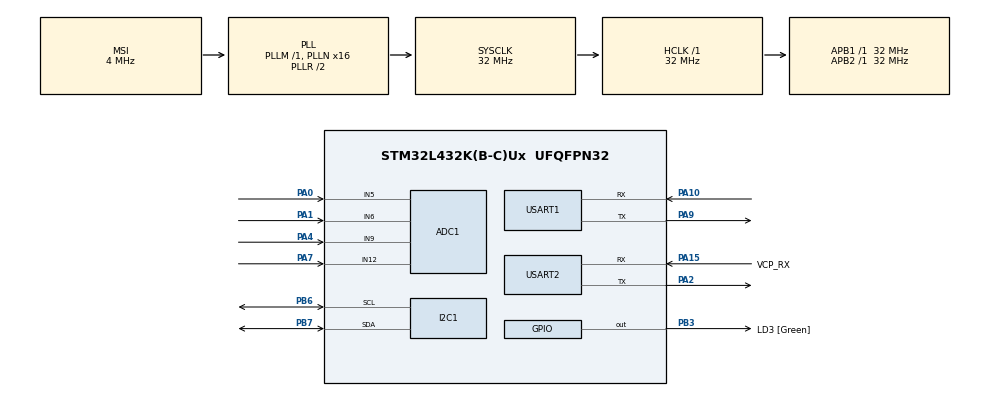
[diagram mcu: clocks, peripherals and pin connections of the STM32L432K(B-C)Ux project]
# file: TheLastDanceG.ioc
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ADC1.Channel-0\#ChannelRegularConversion=ADC_CHANNEL_5
ADC1.Channel-1\#ChannelRegularConversion=ADC_CHANNEL_6
ADC1.Channel-2\#ChannelRegularConversion=ADC_CHANNEL_9
ADC1.Channel-3\#ChannelRegularConversion=ADC_CHANNEL_12
ADC1.ClockPrescaler=ADC_CLOCK_ASYNC_DIV2
ADC1.ContinuousConvMode=ENABLE
ADC1.DMAContinuousRequests=ENABLE
ADC1.NbrOfConversion=4
ADC1.NbrOfConversionFlag=1
ADC1.OffsetNumber-0\#ChannelRegularConversion=ADC_OFFSET_NONE
ADC1.OffsetNumber-1\#ChannelRegularConversion=ADC_OFFSET_NONE
ADC1.OffsetNumber-2\#ChannelRegularConversion=ADC_OFFSET_NONE
ADC1.OffsetNumber-3\#ChannelRegularConversion=ADC_OFFSET_NONE
ADC1.Rank-0\#ChannelRegularConversion=1
ADC1.Rank-1\#ChannelRegularConversion=2
ADC1.Rank-2\#ChannelRegularConversion=3
ADC1.Rank-3\#ChannelRegularConversion=4
ADC1.SamplingTime-0\#ChannelRegularConversion=ADC_SAMPLETIME_247CYCLES_5
ADC1.SamplingTime-1\#ChannelRegularConversion=ADC_SAMPLETIME_247CYCLES_5
ADC1.SamplingTime-2\#ChannelRegularConversion=ADC_SAMPLETIME_247CYCLES_5
ADC1.SamplingTime-3\#ChannelRegularConversion=ADC_SAMPLETIME_247CYCLES_5
ADC1.master=1
Dma.ADC1.0.Direction=DMA_PERIPH_TO_MEMORY
Dma.ADC1.0.Instance=DMA1_Channel1
Dma.ADC1.0.MemDataAlignment=DMA_MDATAALIGN_HALFWORD
Dma.ADC1.0.MemInc=DMA_MINC_ENABLE
Dma.ADC1.0.Mode=DMA_CIRCULAR
Dma.ADC1.0.PeriphDataAlignment=DMA_PDATAALIGN_HALFWORD
Dma.ADC1.0.PeriphInc=DMA_PINC_DISABLE
Dma.ADC1.0.Priority=DMA_PRIORITY_LOW
Dma.Request0=ADC1
Dma.Request1=USART1_TX
Dma.USART1_TX.1.Direction=DMA_MEMORY_TO_PERIPH
Dma.USART1_TX.1.Instance=DMA1_Channel4
Dma.USART1_TX.1.MemDataAlignment=DMA_MDATAALIGN_BYTE
Dma.USART1_TX.1.MemInc=DMA_MINC_ENABLE
Dma.USART1_TX.1.Mode=DMA_NORMAL
Dma.USART1_TX.1.PeriphDataAlignment=DMA_PDATAALIGN_BYTE
Dma.USART1_TX.1.PeriphInc=DMA_PINC_DISABLE
Dma.USART1_TX.1.Priority=DMA_PRIORITY_LOW
I2C1.Timing=0x00B07CB4
Mcu.Family=STM32L4
Mcu.Name=STM32L432K(B-C)Ux
Mcu.Package=UFQFPN32
NVIC.DMA1_Channel1_IRQn=true\:0\:0\:false\:false\:true\:false\:true\:true
NVIC.DMA1_Channel4_IRQn=true\:0\:0\:false\:false\:true\:false\:true\:true
NVIC.PriorityGroup=NVIC_PRIORITYGROUP_4
NVIC.USART1_IRQn=true\:0\:0\:false\:false\:true\:true\:true\:true
PA0.Signal=ADCx_IN5
PA1.Signal=ADCx_IN6
PA10.Mode=Asynchronous
PA10.Signal=USART1_RX
PA13\ (JTMS-SWDIO).GPIO_Label=SWDIO
PA13\ (JTMS-SWDIO).Signal=SYS_JTMS-SWDIO
PA14\ (JTCK-SWCLK).GPIO_Label=SWCLK
PA14\ (JTCK-SWCLK).Signal=SYS_JTCK-SWCLK
PA15\ (JTDI).GPIO_Label=VCP_RX
PA15\ (JTDI).Mode=Asynchronous
PA15\ (JTDI).Signal=USART2_RX
PA2.Mode=Asynchronous
PA2.Signal=USART2_TX
PA4.Signal=ADCx_IN9
PA7.Signal=ADCx_IN12
PA9.Mode=Asynchronous
PA9.Signal=USART1_TX
PB3\ (JTDO-TRACESWO).GPIO_Label=LD3 [Green]
PB3\ (JTDO-TRACESWO).Signal=GPIO_Output
PB6.Mode=I2C
PB6.Signal=I2C1_SCL
PB7.Mode=I2C
PB7.Signal=I2C1_SDA
PC14-OSC32_IN\ (PC14).Signal=RCC_OSC32_IN
PC15-OSC32_OUT\ (PC15).Signal=RCC_OSC32_OUT
ProjectManager.HeapSize=0x200
ProjectManager.StackSize=0x400
ProjectManager.TargetToolchain=STM32CubeIDE
RCC.ADCFreq_Value=32000000
RCC.AHBFreq_Value=32000000
RCC.APB1Freq_Value=32000000
RCC.APB1TimFreq_Value=32000000
RCC.APB2Freq_Value=32000000
RCC.APB2TimFreq_Value=32000000
RCC.CortexFreq_Value=32000000
RCC.HCLKFreq_Value=32000000
RCC.HSE_VALUE=8000000
RCC.HSI16_VALUE=16000000
RCC.HSI48_VALUE=48000000
RCC.HSI_VALUE=16000000
RCC.LSE_VALUE=32768
RCC.MSI_VALUE=4000000
RCC.PLLMUL=RCC_PLLMUL_4
RCC.PLLN=16
RCC.PLLSAI1N=16
RCC.SYSCLKFreq_VALUE=32000000
RCC.SYSCLKSource=RCC_SYSCLKSOURCE_PLLCLK
RCC.USBFreq_Value=32000000
RCC.VCOOutputFreq_Value=64000000
SH.ADCx_IN12.0=ADC1_IN12,IN12-Single-Ended
SH.ADCx_IN5.0=ADC1_IN5,IN5-Single-Ended
SH.ADCx_IN6.0=ADC1_IN6,IN6-Single-Ended
SH.ADCx_IN9.0=ADC1_IN9,IN9-Single-Ended
USART1.VirtualMode-Asynchronous=VM_ASYNC
USART2.VirtualMode-Asynchronous=VM_ASYNC
board=NUCLEO-L432KC

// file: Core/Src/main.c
/* USER CODE BEGIN Header */
/**
  ******************************************************************************
  * @file           : main.c
  * @brief          : Main program body
  ******************************************************************************
  * @attention
  *
  * Copyright (c) 2026 STMicroelectronics.
  * All rights reserved.
  *
  * This software is licensed under terms that can be found in the LICENSE file
  * in the root directory of this software component.
  * If no LICENSE file comes with this software, it is provided AS-IS.
  *
  ******************************************************************************
  */
/* USER CODE END Header */
#include "main.h"

/* USER CODE BEGIN Includes */
#include <stdio.h>
#include <string.h>
#include <stdarg.h>
#include <math.h>
/* USER CODE END Includes */

ADC_HandleTypeDef hadc1;
DMA_HandleTypeDef hdma_adc1;

I2C_HandleTypeDef hi2c1;

UART_HandleTypeDef huart1;
UART_HandleTypeDef huart2;
DMA_HandleTypeDef hdma_usart1_tx;

/* USER CODE BEGIN PV */
typedef enum
{
  FINGERS_UP = 0,
  FINGERS_DOWN,
  FINGERS_HORIZONTAL,
  FINGERS_UNKNOWN
} FingerDirection_t;

typedef enum
{
  HAND_BACK_UP = 0,   /* +Z points up (out of back of hand is up) */
  HAND_PALM_UP,       /* -Z points up */
  HAND_EDGE_UP,       /* neither back nor palm mostly up */
  HAND_FACE_UNKNOWN
} HandFace_t;

typedef struct
{
  FingerDirection_t fingers;
  HandFace_t face;
} HandPose_t;

static HandPose_t s_hand_pose;
#define SAD_W_A 0x32
#define SAD_R_A 0x33

void myprintf(const char *fmt, ...);

#define ADC_MODE_THRESH 100
#define ADC_FLEX_THRESH 200
static uint16_t adc1_dma_initial_buf_average[4];
static uint16_t adc1_dma_buf[16];
static uint16_t adc1_dma_buf_average[4];
static uint8_t  glove_commands[7];
static uint8_t  sensor = 0;
static uint8_t  s_mode = 0;

/* 1..10 value representing left/right roll around X axis (X along fingers). */
static volatile uint8_t s_roll_x_1to10 = 5u;

/* Accelerometer register map (matches your reference code) */
#define ACCEL_REG_CTRL1    0x20
#define ACCEL_REG_OUT_X_L  0x28
/* USER CODE END PV */

void SystemClock_Config(void);
static void MX_GPIO_Init(void);
static void MX_DMA_Init(void);
static void MX_USART1_UART_Init(void);
static void MX_USART2_UART_Init(void);
static void MX_ADC1_Init(void);
static void MX_I2C1_Init(void);

/* USER CODE BEGIN 0 */

void mode_switch(void)
{

	if((adc1_dma_buf_average[0] - adc1_dma_initial_buf_average[0] > ADC_MODE_THRESH) & (!sensor))
	{
		sensor = 1;//doesn't allow one tap to go trhough multiple with the debounce as well
		s_mode = (s_mode + 1) % 4; //next mode
		HAL_Delay(100);//debounce
	}
	else
	{
		sensor = 0;
	}
}

void myprintf(const char *fmt, ...)
{
  char buffer[128];
  va_list args;
  va_start(args, fmt);
  vsnprintf(buffer, sizeof(buffer), fmt, args);
  va_end(args);
  HAL_UART_Transmit(&huart2, (uint8_t *)buffer, strlen(buffer), 0xFFFF);
}

void update_glove_commands(void)
{

  glove_commands[0] = s_mode;
  glove_commands[1] = adc1_dma_buf_average[1] - adc1_dma_initial_buf_average[1] > ADC_FLEX_THRESH ? 1 : 0;
  glove_commands[2] = adc1_dma_buf_average[2] - adc1_dma_initial_buf_average[2] > ADC_FLEX_THRESH ? 1 : 0;
  glove_commands[3] = adc1_dma_buf_average[3] - adc1_dma_initial_buf_average[3] > ADC_FLEX_THRESH ? 1 : 0;
  glove_commands[4] = s_hand_pose.fingers == FINGERS_UP ? 1 : 0;
  glove_commands[5] = s_hand_pose.face == HAND_PALM_UP ? 1 : 0;
  glove_commands[6] = s_roll_x_1to10; /* 1..10 */
}

void average_adc_values(void)
{
  adc1_dma_buf_average[0] = (adc1_dma_buf[0] + adc1_dma_buf[4] + adc1_dma_buf[8] + adc1_dma_buf[12]) / 4;
  adc1_dma_buf_average[1] = (adc1_dma_buf[1] + adc1_dma_buf[5] + adc1_dma_buf[9] + adc1_dma_buf[13]) / 4;
  adc1_dma_buf_average[2] = (adc1_dma_buf[2] + adc1_dma_buf[6] + adc1_dma_buf[10] + adc1_dma_buf[14]) / 4;
  adc1_dma_buf_average[3] = (adc1_dma_buf[3] + adc1_dma_buf[7] + adc1_dma_buf[11] + adc1_dma_buf[15]) / 4;
}

void average_initial_adc_values(void)
{
  adc1_dma_initial_buf_average[0] = adc1_dma_buf_average[0];
  adc1_dma_initial_buf_average[1] = adc1_dma_buf_average[1];
  adc1_dma_initial_buf_average[2] = adc1_dma_buf_average[2];
  adc1_dma_initial_buf_average[3] = adc1_dma_buf_average[3];
}

HAL_StatusTypeDef Glove_UART2_SendCommands_DMA(void)
{
  /* Don't start a new TX while DMA is still running */
  if (HAL_UART_GetState(&huart1) != HAL_UART_STATE_READY)
  {
    return HAL_BUSY;
  }

  return HAL_UART_Transmit_DMA(&huart1, glove_commands, 7);
}

static HAL_StatusTypeDef Accel_Init(void)
{
  /* Example init from your reference: write 0x97 to CTRL_REG1 (0x20) */
  uint8_t reg_and_val[2] = { ACCEL_REG_CTRL1, 0x97 };
  return HAL_I2C_Master_Transmit(&hi2c1, SAD_W_A, reg_and_val, 2, 1000);
}

static HAL_StatusTypeDef Accel_ReadXYZ(int16_t *x, int16_t *y, int16_t *z)
{
  /* Read 6 bytes starting at OUT_X_L.
   * Many ST accel parts support auto-increment with bit7=1. */
  uint8_t start_reg = (uint8_t)(ACCEL_REG_OUT_X_L | 0x80);
  uint8_t buf[6] = {0};

  HAL_StatusTypeDef ret = HAL_I2C_Master_Transmit(&hi2c1, SAD_W_A, &start_reg, 1, 1000);
  if (ret != HAL_OK) return ret;

  ret = HAL_I2C_Master_Receive(&hi2c1, SAD_R_A, buf, 6, 1000);
  if (ret != HAL_OK) return ret;

  /* Little-endian: XL,XH,YL,YH,ZL,ZH */
  *x = (int16_t)((uint16_t)buf[1] << 8 | buf[0]);
  *y = (int16_t)((uint16_t)buf[3] << 8 | buf[2]);
  *z = (int16_t)((uint16_t)buf[5] << 8 | buf[4]);
  return HAL_OK;
}

static HandPose_t HandPose_FromAccelXYZ(int16_t ax, int16_t ay, int16_t az);
static const char *FingerDirection_ToString(FingerDirection_t d);
static const char *HandFace_ToString(HandFace_t f);

static void update_hand_pose(void)
{
  int16_t x = 0, y = 0, z = 0;
  if (Accel_ReadXYZ(&x, &y, &z) != HAL_OK)
  {
    myprintf("ACCEL I2C read error\r\n");
    return;
  }

  s_hand_pose = HandPose_FromAccelXYZ(x, y, z);

  /* Roll around X axis (left/right tilt) from gravity vector:
   * roll_x = atan2(Y, Z) -> approx [-pi, +pi]. Clamp to +/- 90deg and map to 1..10.
   * If direction is inverted for your mounting, swap signs of y/z or invert the mapping. */
  {
    const float k_max = 1.57079632679f; /* pi/2 */
    /* Use -Z so "normal" (back-of-hand up -> z<0, y~0) maps near roll=0.
     * Then wrap to [-pi/2, +pi/2] so we don't jump to +/-pi when Z flips sign. */
    float roll = atan2f((float)y, (float)(-z)); /* [-pi, +pi] */
    if (roll > k_max) roll -= 3.14159265359f;
    if (roll < -k_max) roll += 3.14159265359f;
    if (roll > k_max) roll = k_max;
    if (roll < -k_max) roll = -k_max;
    float t = (roll + k_max) / (2.0f * k_max); /* 0..1 */
    if (t < 0.0f) t = 0.0f;
    if (t > 1.0f) t = 1.0f;
    uint32_t v = (uint32_t)lrintf(1.0f + t * 9.0f); /* 1..10 */
    if (v < 1u) v = 1u;
    if (v > 10u) v = 10u;
    s_roll_x_1to10 = (uint8_t)v;
  }
}

static const char *FingerDirection_ToString(FingerDirection_t d)
{
  switch (d)
  {
    case FINGERS_UP: return "FINGERS_UP";
    case FINGERS_DOWN: return "FINGERS_DOWN";
    case FINGERS_HORIZONTAL: return "FINGERS_HORIZONTAL";
    default: return "FINGERS_UNKNOWN";
  }
}

static const char *HandFace_ToString(HandFace_t f)
{
  switch (f)
  {
    case HAND_BACK_UP: return "BACK_OF_HAND_UP";
    case HAND_PALM_UP: return "PALM_UP";
    case HAND_EDGE_UP: return "EDGE_UP";
    default: return "FACE_UNKNOWN";
  }
}

/*
 * Translate accelerometer XYZ into a coarse "hand position".
 *
 * Coordinate assumptions (per your description):
 * - +X points toward the fingers (fully extended direction).
 * - +Z points out of the back of the hand.
 * - +Y is across the back of the hand.
 *
 * Uses ONLY gravity (accelerometer), so it cannot determine yaw/heading:
 * it can say up/down vs horizontal, and whether palm/back/edge is up.
 */
static HandPose_t HandPose_FromAccelXYZ(int16_t ax, int16_t ay, int16_t az)
{
  HandPose_t p = { .fingers = FINGERS_UNKNOWN, .face = HAND_FACE_UNKNOWN };

  int32_t x = ax, y = ay, z = az;
  int32_t axa = (x >= 0) ? x : -x;
  int32_t aya = (y >= 0) ? y : -y;
  int32_t aza = (z >= 0) ? z : -z;

  /* Decide which axis is most aligned with gravity. */
  int32_t maxa = axa;
  char max_axis = 'x';
  if (aya > maxa) { maxa = aya; max_axis = 'y'; }
  if (aza > maxa) { maxa = aza; max_axis = 'z'; }

  /*
   * Finger direction:
   * If gravity points mostly along +X, then +X is "down" -> fingers down.
   * If gravity points mostly along -X, then +X is "up"   -> fingers up.
   * Otherwise fingers are roughly horizontal.
   */
  if (max_axis == 'x')
  {
    p.fingers = (x < 0) ? FINGERS_UP : FINGERS_DOWN;
  }
  else
  {
    p.fingers = FINGERS_HORIZONTAL;
  }

  /*
   * Which face is up:
   * If gravity points mostly along +Z, +Z is down -> palm is up.
   * If gravity points mostly along -Z, +Z is up   -> back of hand is up.
   * Otherwise it's on an edge (thumb/pinky side or finger/wrist edge).
   */
  if (max_axis == 'z')
  {
    p.face = (z < 0) ? HAND_BACK_UP : HAND_PALM_UP;
  }
  else
  {
    p.face = HAND_EDGE_UP;
  }

  return p;
}

/* USER CODE END 0 */

int main(void)
{

  /* MCU Configuration--------------------------------------------------------*/

  /* Reset of all peripherals, Initializes the Flash interface and the Systick. */
  HAL_Init();

  /* Configure the system clock */
  SystemClock_Config();

  /* Initialize all configured peripherals */
  MX_GPIO_Init();
  MX_DMA_Init();
  MX_USART1_UART_Init();
  MX_USART2_UART_Init();
  MX_ADC1_Init();
  MX_I2C1_Init();
  /* USER CODE BEGIN 2 */
  myprintf("The Last Dance G\r\n");

  if (Accel_Init() != HAL_OK)
  {
    myprintf("ACCEL init error\r\n");
  }

  if (HAL_ADC_Start_DMA(&hadc1, (uint32_t *)adc1_dma_buf,
                        (uint32_t)(sizeof(adc1_dma_buf) / sizeof(adc1_dma_buf[0]))) != HAL_OK)
  {
    Error_Handler();
  }
  HAL_Delay(500);
  average_adc_values();
  average_initial_adc_values();

  /* USER CODE END 2 */

  /* Infinite loop */
  /* USER CODE BEGIN WHILE */
  while (1)
  {
    mode_switch();
    average_adc_values();
    update_glove_commands();
    update_hand_pose();
    myprintf("button initial: %d, button avg: %d, RAW button: %d\r\n", adc1_dma_initial_buf_average[0], adc1_dma_buf_average[0], adc1_dma_buf_average[0] - adc1_dma_initial_buf_average[0]);
    myprintf("GLOVE_COMMANDS: %d, %d, %d, %d, %d, %d, %d\r\n",
             glove_commands[0], glove_commands[1], glove_commands[2], glove_commands[3],
             glove_commands[4], glove_commands[5], glove_commands[6]);
    myprintf("HAND_POSE: %s %s\r\n", FingerDirection_ToString(s_hand_pose.fingers), HandFace_ToString(s_hand_pose.face));
    myprintf("ROLL_X_1to10: %u\r\n", (unsigned)s_roll_x_1to10);
    Glove_UART2_SendCommands_DMA();
    HAL_Delay(500);

    /* USER CODE END WHILE */

  }
}

void SystemClock_Config(void)
{
  RCC_OscInitTypeDef RCC_OscInitStruct = {0};
  RCC_ClkInitTypeDef RCC_ClkInitStruct = {0};

  /** Configure the main internal regulator output voltage
  */
  if (HAL_PWREx_ControlVoltageScaling(PWR_REGULATOR_VOLTAGE_SCALE1) != HAL_OK)
  {
    Error_Handler();
  }

  /** Initializes the RCC Oscillators according to the specified parameters
  * in the RCC_OscInitTypeDef structure.
  */
  RCC_OscInitStruct.OscillatorType = RCC_OSCILLATORTYPE_MSI;
  RCC_OscInitStruct.MSIState = RCC_MSI_ON;
  RCC_OscInitStruct.MSICalibrationValue = 0;
  RCC_OscInitStruct.MSIClockRange = RCC_MSIRANGE_6;
  RCC_OscInitStruct.PLL.PLLState = RCC_PLL_ON;
  RCC_OscInitStruct.PLL.PLLSource = RCC_PLLSOURCE_MSI;
  RCC_OscInitStruct.PLL.PLLM = 1;
  RCC_OscInitStruct.PLL.PLLN = 16;
  RCC_OscInitStruct.PLL.PLLP = RCC_PLLP_DIV7;
  RCC_OscInitStruct.PLL.PLLQ = RCC_PLLQ_DIV2;
  RCC_OscInitStruct.PLL.PLLR = RCC_PLLR_DIV2;
  if (HAL_RCC_OscConfig(&RCC_OscInitStruct) != HAL_OK)
  {
    Error_Handler();
  }

  /** Initializes the CPU, AHB and APB buses clocks
  */
  RCC_ClkInitStruct.ClockType = RCC_CLOCKTYPE_HCLK|RCC_CLOCKTYPE_SYSCLK
                              |RCC_CLOCKTYPE_PCLK1|RCC_CLOCKTYPE_PCLK2;
  RCC_ClkInitStruct.SYSCLKSource = RCC_SYSCLKSOURCE_PLLCLK;
  RCC_ClkInitStruct.AHBCLKDivider = RCC_SYSCLK_DIV1;
  RCC_ClkInitStruct.APB1CLKDivider = RCC_HCLK_DIV1;
  RCC_ClkInitStruct.APB2CLKDivider = RCC_HCLK_DIV1;

  if (HAL_RCC_ClockConfig(&RCC_ClkInitStruct, FLASH_LATENCY_1) != HAL_OK)
  {
    Error_Handler();
  }
}

static void MX_ADC1_Init(void)
{

  ADC_ChannelConfTypeDef sConfig = {0};

  /** Common config
  */
  hadc1.Instance = ADC1;
  hadc1.Init.ClockPrescaler = ADC_CLOCK_ASYNC_DIV2;
  hadc1.Init.Resolution = ADC_RESOLUTION_12B;
  hadc1.Init.DataAlign = ADC_DATAALIGN_RIGHT;
  hadc1.Init.ScanConvMode = ADC_SCAN_ENABLE;
  hadc1.Init.EOCSelection = ADC_EOC_SINGLE_CONV;
  hadc1.Init.LowPowerAutoWait = DISABLE;
  hadc1.Init.ContinuousConvMode = ENABLE;
  hadc1.Init.NbrOfConversion = 4;
  hadc1.Init.DiscontinuousConvMode = DISABLE;
  hadc1.Init.ExternalTrigConv = ADC_SOFTWARE_START;
  hadc1.Init.ExternalTrigConvEdge = ADC_EXTERNALTRIGCONVEDGE_NONE;
  hadc1.Init.DMAContinuousRequests = ENABLE;
  hadc1.Init.Overrun = ADC_OVR_DATA_PRESERVED;
  hadc1.Init.OversamplingMode = DISABLE;
  if (HAL_ADC_Init(&hadc1) != HAL_OK)
  {
    Error_Handler();
  }

  /** Configure Regular Channel
  */
  sConfig.Channel = ADC_CHANNEL_5;
  sConfig.Rank = ADC_REGULAR_RANK_1;
  sConfig.SamplingTime = ADC_SAMPLETIME_247CYCLES_5;
  sConfig.SingleDiff = ADC_SINGLE_ENDED;
  sConfig.OffsetNumber = ADC_OFFSET_NONE;
  sConfig.Offset = 0;
  if (HAL_ADC_ConfigChannel(&hadc1, &sConfig) != HAL_OK)
  {
    Error_Handler();
  }

  /** Configure Regular Channel
  */
  sConfig.Channel = ADC_CHANNEL_6;
  sConfig.Rank = ADC_REGULAR_RANK_2;
  if (HAL_ADC_ConfigChannel(&hadc1, &sConfig) != HAL_OK)
  {
    Error_Handler();
  }

  /** Configure Regular Channel
  */
  sConfig.Channel = ADC_CHANNEL_9;
  sConfig.Rank = ADC_REGULAR_RANK_3;
  if (HAL_ADC_ConfigChannel(&hadc1, &sConfig) != HAL_OK)
  {
    Error_Handler();
  }

  /** Configure Regular Channel
  */
  sConfig.Channel = ADC_CHANNEL_12;
  sConfig.Rank = ADC_REGULAR_RANK_4;
  if (HAL_ADC_ConfigChannel(&hadc1, &sConfig) != HAL_OK)
  {
    Error_Handler();
  }

}

static void MX_I2C1_Init(void)
{

  hi2c1.Instance = I2C1;
  hi2c1.Init.Timing = 0x00B07CB4;
  hi2c1.Init.OwnAddress1 = 0;
  hi2c1.Init.AddressingMode = I2C_ADDRESSINGMODE_7BIT;
  hi2c1.Init.DualAddressMode = I2C_DUALADDRESS_DISABLE;
  hi2c1.Init.OwnAddress2 = 0;
  hi2c1.Init.OwnAddress2Masks = I2C_OA2_NOMASK;
  hi2c1.Init.GeneralCallMode = I2C_GENERALCALL_DISABLE;
  hi2c1.Init.NoStretchMode = I2C_NOSTRETCH_DISABLE;
  if (HAL_I2C_Init(&hi2c1) != HAL_OK)
  {
    Error_Handler();
  }

  /** Configure Analogue filter
  */
  if (HAL_I2CEx_ConfigAnalogFilter(&hi2c1, I2C_ANALOGFILTER_ENABLE) != HAL_OK)
  {
    Error_Handler();
  }

  /** Configure Digital filter
  */
  if (HAL_I2CEx_ConfigDigitalFilter(&hi2c1, 0) != HAL_OK)
  {
    Error_Handler();
  }

}

static void MX_USART1_UART_Init(void)
{

  huart1.Instance = USART1;
  huart1.Init.BaudRate = 115200;
  huart1.Init.WordLength = UART_WORDLENGTH_8B;
  huart1.Init.StopBits = UART_STOPBITS_1;
  huart1.Init.Parity = UART_PARITY_NONE;
  huart1.Init.Mode = UART_MODE_TX_RX;
  huart1.Init.HwFlowCtl = UART_HWCONTROL_NONE;
  huart1.Init.OverSampling = UART_OVERSAMPLING_16;
  huart1.Init.OneBitSampling = UART_ONE_BIT_SAMPLE_DISABLE;
  huart1.AdvancedInit.AdvFeatureInit = UART_ADVFEATURE_NO_INIT;
  if (HAL_UART_Init(&huart1) != HAL_OK)
  {
    Error_Handler();
  }

}

static void MX_USART2_UART_Init(void)
{

  huart2.Instance = USART2;
  huart2.Init.BaudRate = 115200;
  huart2.Init.WordLength = UART_WORDLENGTH_8B;
  huart2.Init.StopBits = UART_STOPBITS_1;
  huart2.Init.Parity = UART_PARITY_NONE;
  huart2.Init.Mode = UART_MODE_TX_RX;
  huart2.Init.HwFlowCtl = UART_HWCONTROL_NONE;
  huart2.Init.OverSampling = UART_OVERSAMPLING_16;
  huart2.Init.OneBitSampling = UART_ONE_BIT_SAMPLE_DISABLE;
  huart2.AdvancedInit.AdvFeatureInit = UART_ADVFEATURE_NO_INIT;
  if (HAL_UART_Init(&huart2) != HAL_OK)
  {
    Error_Handler();
  }

}

static void MX_DMA_Init(void)
{

  /* DMA controller clock enable */
  __HAL_RCC_DMA1_CLK_ENABLE();

  /* DMA interrupt init */
  /* DMA1_Channel1_IRQn interrupt configuration */
  HAL_NVIC_SetPriority(DMA1_Channel1_IRQn, 0, 0);
  HAL_NVIC_EnableIRQ(DMA1_Channel1_IRQn);
  /* DMA1_Channel4_IRQn interrupt configuration */
  HAL_NVIC_SetPriority(DMA1_Channel4_IRQn, 0, 0);
  HAL_NVIC_EnableIRQ(DMA1_Channel4_IRQn);

}

static void MX_GPIO_Init(void)
{
  GPIO_InitTypeDef GPIO_InitStruct = {0};

  /* GPIO Ports Clock Enable */
  __HAL_RCC_GPIOC_CLK_ENABLE();
  __HAL_RCC_GPIOA_CLK_ENABLE();
  __HAL_RCC_GPIOB_CLK_ENABLE();

  /*Configure GPIO pin Output Level */
  HAL_GPIO_WritePin(LD3_GPIO_Port, LD3_Pin, GPIO_PIN_RESET);

  /*Configure GPIO pin : LD3_Pin */
  GPIO_InitStruct.Pin = LD3_Pin;
  GPIO_InitStruct.Mode = GPIO_MODE_OUTPUT_PP;
  GPIO_InitStruct.Pull = GPIO_NOPULL;
  GPIO_InitStruct.Speed = GPIO_SPEED_FREQ_LOW;
  HAL_GPIO_Init(LD3_GPIO_Port, &GPIO_InitStruct);

}

void Error_Handler(void)
{
  __disable_irq();
  while (1)
  {
  }
}
